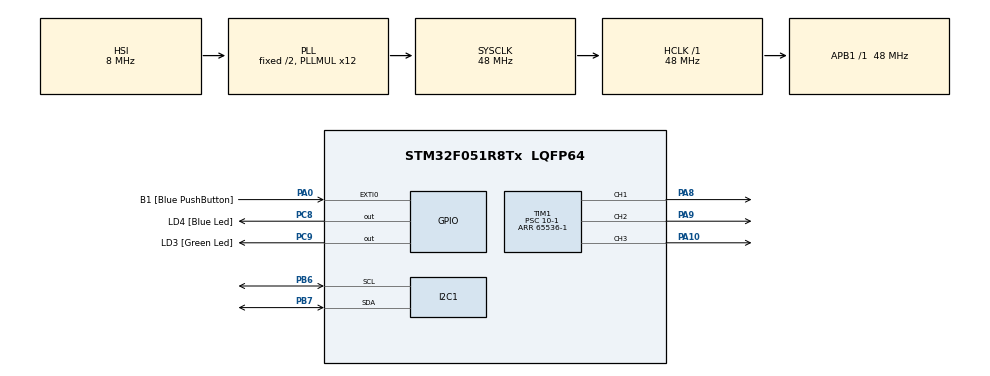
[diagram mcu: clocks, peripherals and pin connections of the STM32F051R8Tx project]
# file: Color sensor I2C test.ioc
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I2C1.AddressingMode=I2C_ADDRESSINGMODE_7BIT
Mcu.Family=STM32F0
Mcu.Name=STM32F051R8Tx
Mcu.Package=LQFP64
PA0.GPIO_Label=B1 [Blue PushButton]
PA0.GPIO_ModeDefaultEXTI=GPIO_MODE_EVT_RISING
PA0.Signal=GPXTI0
PA10.Signal=S_TIM1_CH3
PA13.GPIO_Label=SWDIO
PA13.Mode=Serial_Wire
PA13.Signal=SYS_SWDIO
PA14.GPIO_Label=SWCLK
PA14.Mode=Serial_Wire
PA14.Signal=SYS_SWCLK
PA8.Signal=S_TIM1_CH1
PA9.Signal=S_TIM1_CH2
PB6.Mode=I2C
PB6.Signal=I2C1_SCL
PB7.Mode=I2C
PB7.Signal=I2C1_SDA
PC8.GPIO_Label=LD4 [Blue Led]
PC8.Signal=GPIO_Output
PC9.GPIO_Label=LD3 [Green Led]
PC9.Signal=GPIO_Output
ProjectManager.HeapSize=0x200
ProjectManager.StackSize=0x400
ProjectManager.TargetToolchain=TrueSTUDIO
RCC.AHBFreq_Value=48000000
RCC.APB1Freq_Value=48000000
RCC.APB1TimFreq_Value=48000000
RCC.HCLKFreq_Value=48000000
RCC.PLLMUL=RCC_PLL_MUL12
RCC.SYSCLKFreq_VALUE=48000000
RCC.SYSCLKSource=RCC_SYSCLKSOURCE_PLLCLK
SH.S_TIM1_CH1.0=TIM1_CH1,PWM Generation1 CH1
SH.S_TIM1_CH2.0=TIM1_CH2,PWM Generation2 CH2
SH.S_TIM1_CH3.0=TIM1_CH3,PWM Generation3 CH3
TIM1.Channel-PWM\ Generation1\ CH1=TIM_CHANNEL_1
TIM1.Channel-PWM\ Generation2\ CH2=TIM_CHANNEL_2
TIM1.Channel-PWM\ Generation3\ CH3=TIM_CHANNEL_3
TIM1.Period=65536-1
TIM1.Prescaler=10-1
VP_TIM1_VS_ClockSourceINT.Mode=Internal
board=STM32F0DISCOVERY

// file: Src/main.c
/* USER CODE BEGIN Header */
/**
  ******************************************************************************
  * @file           : main.c
  * @brief          : Main program body
  ******************************************************************************
  ** This notice applies to any and all portions of this file
  * that are not between comment pairs USER CODE BEGIN and
  * USER CODE END. Other portions of this file, whether
  * inserted by the user or by software development tools
  * are owned by their respective copyright owners.
  *
  * COPYRIGHT(c) 2020 STMicroelectronics
  *
  * Redistribution and use in source and binary forms, with or without modification,
  * are permitted provided that the following conditions are met:
  *   1. Redistributions of source code must retain the above copyright notice,
  *      this list of conditions and the following disclaimer.
  *   2. Redistributions in binary form must reproduce the above copyright notice,
  *      this list of conditions and the following disclaimer in the documentation
  *      and/or other materials provided with the distribution.
  *   3. Neither the name of STMicroelectronics nor the names of its contributors
  *      may be used to endorse or promote products derived from this software
  *      without specific prior written permission.
  *
  * THIS SOFTWARE IS PROVIDED BY THE COPYRIGHT HOLDERS AND CONTRIBUTORS "AS IS"
  * AND ANY EXPRESS OR IMPLIED WARRANTIES, INCLUDING, BUT NOT LIMITED TO, THE
  * IMPLIED WARRANTIES OF MERCHANTABILITY AND FITNESS FOR A PARTICULAR PURPOSE ARE
  * DISCLAIMED. IN NO EVENT SHALL THE COPYRIGHT HOLDER OR CONTRIBUTORS BE LIABLE
  * FOR ANY DIRECT, INDIRECT, INCIDENTAL, SPECIAL, EXEMPLARY, OR CONSEQUENTIAL
  * DAMAGES (INCLUDING, BUT NOT LIMITED TO, PROCUREMENT OF SUBSTITUTE GOODS OR
  * SERVICES; LOSS OF USE, DATA, OR PROFITS; OR BUSINESS INTERRUPTION) HOWEVER
  * CAUSED AND ON ANY THEORY OF LIABILITY, WHETHER IN CONTRACT, STRICT LIABILITY,
  * OR TORT (INCLUDING NEGLIGENCE OR OTHERWISE) ARISING IN ANY WAY OUT OF THE USE
  * OF THIS SOFTWARE, EVEN IF ADVISED OF THE POSSIBILITY OF SUCH DAMAGE.
  *
  ******************************************************************************
  */
/* USER CODE END Header */

#include "main.h"

/* USER CODE BEGIN Includes */
#define CONF 0x00
#define R_DATA 0x08
#define G_DATA 0x09
#define B_DATA 0x0A
#define W_DATA 0x0B
static const uint8_t COLOR_ADDR = 0x10 << 1;

uint8_t buffer[8] = {0};
char error_msg[20];
short red_data, grn_data, blu_data;
/* USER CODE END Includes */

I2C_HandleTypeDef hi2c1;

TIM_HandleTypeDef htim1;

void SystemClock_Config(void);
static void MX_GPIO_Init(void);
static void MX_I2C1_Init(void);
static void MX_TIM1_Init(void);

/* USER CODE BEGIN 0 */

short read_sensor_data(uint8_t color_reg){
	uint8_t read_buff[2];
	short ret_data;
	HAL_I2C_Mem_Read(&hi2c1, COLOR_ADDR, (uint16_t)color_reg, I2C_MEMADD_SIZE_8BIT, read_buff, 2, HAL_MAX_DELAY);
	ret_data = read_buff[1] << 8 | read_buff[0];

	return ret_data;
}

void set_rgb (short red, short green, short blue)
{
	htim1.Instance->CCR1 = red;
	htim1.Instance->CCR2 = green;
	htim1.Instance->CCR3 = blue;
}
/* USER CODE END 0 */

int main(void)
{

  /* MCU Configuration--------------------------------------------------------*/

  /* Reset of all peripherals, Initializes the Flash interface and the Systick. */
  HAL_Init();

  /* Configure the system clock */
  SystemClock_Config();

  /* Initialize all configured peripherals */
  MX_GPIO_Init();
  MX_I2C1_Init();
  MX_TIM1_Init();
  /* USER CODE BEGIN 2 */
  //config the color sensors
  buffer[0] = 0x00; //pointer to config reg
  buffer[1] = 0x50; //config settings
  HAL_Delay(200);
  if(HAL_I2C_Master_Transmit(&hi2c1, COLOR_ADDR, buffer, 2, HAL_MAX_DELAY) != HAL_OK){
	  error_msg[0] = 'A';
  }

  HAL_TIM_PWM_Start(&htim1, TIM_CHANNEL_1);
  HAL_TIM_PWM_Start(&htim1, TIM_CHANNEL_2);
  HAL_TIM_PWM_Start(&htim1, TIM_CHANNEL_3);
  /* USER CODE END 2 */

  /* Infinite loop */
  while (1)
  {

    /* USER CODE BEGIN 3 */
	  HAL_Delay(1500);

	  red_data = read_sensor_data(R_DATA);
	  grn_data = read_sensor_data(G_DATA);
	  blu_data = read_sensor_data(B_DATA);
	  set_rgb(red_data, grn_data, blu_data);

  }
  /* USER CODE END 3 */
}

void SystemClock_Config(void)
{
  RCC_OscInitTypeDef RCC_OscInitStruct = {0};
  RCC_ClkInitTypeDef RCC_ClkInitStruct = {0};
  RCC_PeriphCLKInitTypeDef PeriphClkInit = {0};

  /**Initializes the CPU, AHB and APB busses clocks
  */
  RCC_OscInitStruct.OscillatorType = RCC_OSCILLATORTYPE_HSI;
  RCC_OscInitStruct.HSIState = RCC_HSI_ON;
  RCC_OscInitStruct.HSICalibrationValue = RCC_HSICALIBRATION_DEFAULT;
  RCC_OscInitStruct.PLL.PLLState = RCC_PLL_ON;
  RCC_OscInitStruct.PLL.PLLSource = RCC_PLLSOURCE_HSI;
  RCC_OscInitStruct.PLL.PLLMUL = RCC_PLL_MUL12;
  RCC_OscInitStruct.PLL.PREDIV = RCC_PREDIV_DIV1;
  if (HAL_RCC_OscConfig(&RCC_OscInitStruct) != HAL_OK)
  {
    Error_Handler();
  }
  /**Initializes the CPU, AHB and APB busses clocks
  */
  RCC_ClkInitStruct.ClockType = RCC_CLOCKTYPE_HCLK|RCC_CLOCKTYPE_SYSCLK
                              |RCC_CLOCKTYPE_PCLK1;
  RCC_ClkInitStruct.SYSCLKSource = RCC_SYSCLKSOURCE_PLLCLK;
  RCC_ClkInitStruct.AHBCLKDivider = RCC_SYSCLK_DIV1;
  RCC_ClkInitStruct.APB1CLKDivider = RCC_HCLK_DIV1;

  if (HAL_RCC_ClockConfig(&RCC_ClkInitStruct, FLASH_LATENCY_1) != HAL_OK)
  {
    Error_Handler();
  }
  PeriphClkInit.PeriphClockSelection = RCC_PERIPHCLK_I2C1;
  PeriphClkInit.I2c1ClockSelection = RCC_I2C1CLKSOURCE_HSI;
  if (HAL_RCCEx_PeriphCLKConfig(&PeriphClkInit) != HAL_OK)
  {
    Error_Handler();
  }
}

static void MX_I2C1_Init(void)
{

  hi2c1.Instance = I2C1;
  hi2c1.Init.Timing = 0x2000090E;
  hi2c1.Init.OwnAddress1 = 0;
  hi2c1.Init.AddressingMode = I2C_ADDRESSINGMODE_7BIT;
  hi2c1.Init.DualAddressMode = I2C_DUALADDRESS_DISABLE;
  hi2c1.Init.OwnAddress2 = 0;
  hi2c1.Init.OwnAddress2Masks = I2C_OA2_NOMASK;
  hi2c1.Init.GeneralCallMode = I2C_GENERALCALL_DISABLE;
  hi2c1.Init.NoStretchMode = I2C_NOSTRETCH_DISABLE;
  if (HAL_I2C_Init(&hi2c1) != HAL_OK)
  {
    Error_Handler();
  }
  /**Configure Analogue filter
  */
  if (HAL_I2CEx_ConfigAnalogFilter(&hi2c1, I2C_ANALOGFILTER_ENABLE) != HAL_OK)
  {
    Error_Handler();
  }
  /**Configure Digital filter
  */
  if (HAL_I2CEx_ConfigDigitalFilter(&hi2c1, 0) != HAL_OK)
  {
    Error_Handler();
  }

}

static void MX_TIM1_Init(void)
{

  TIM_ClockConfigTypeDef sClockSourceConfig = {0};
  TIM_MasterConfigTypeDef sMasterConfig = {0};
  TIM_OC_InitTypeDef sConfigOC = {0};
  TIM_BreakDeadTimeConfigTypeDef sBreakDeadTimeConfig = {0};

  htim1.Instance = TIM1;
  htim1.Init.Prescaler = 10-1;
  htim1.Init.CounterMode = TIM_COUNTERMODE_UP;
  htim1.Init.Period = 65536-1;
  htim1.Init.ClockDivision = TIM_CLOCKDIVISION_DIV1;
  htim1.Init.RepetitionCounter = 0;
  htim1.Init.AutoReloadPreload = TIM_AUTORELOAD_PRELOAD_DISABLE;
  if (HAL_TIM_Base_Init(&htim1) != HAL_OK)
  {
    Error_Handler();
  }
  sClockSourceConfig.ClockSource = TIM_CLOCKSOURCE_INTERNAL;
  if (HAL_TIM_ConfigClockSource(&htim1, &sClockSourceConfig) != HAL_OK)
  {
    Error_Handler();
  }
  if (HAL_TIM_PWM_Init(&htim1) != HAL_OK)
  {
    Error_Handler();
  }
  sMasterConfig.MasterOutputTrigger = TIM_TRGO_RESET;
  sMasterConfig.MasterSlaveMode = TIM_MASTERSLAVEMODE_DISABLE;
  if (HAL_TIMEx_MasterConfigSynchronization(&htim1, &sMasterConfig) != HAL_OK)
  {
    Error_Handler();
  }
  sConfigOC.OCMode = TIM_OCMODE_PWM1;
  sConfigOC.Pulse = 0;
  sConfigOC.OCPolarity = TIM_OCPOLARITY_HIGH;
  sConfigOC.OCNPolarity = TIM_OCNPOLARITY_HIGH;
  sConfigOC.OCFastMode = TIM_OCFAST_DISABLE;
  sConfigOC.OCIdleState = TIM_OCIDLESTATE_RESET;
  sConfigOC.OCNIdleState = TIM_OCNIDLESTATE_RESET;
  if (HAL_TIM_PWM_ConfigChannel(&htim1, &sConfigOC, TIM_CHANNEL_1) != HAL_OK)
  {
    Error_Handler();
  }
  if (HAL_TIM_PWM_ConfigChannel(&htim1, &sConfigOC, TIM_CHANNEL_2) != HAL_OK)
  {
    Error_Handler();
  }
  if (HAL_TIM_PWM_ConfigChannel(&htim1, &sConfigOC, TIM_CHANNEL_3) != HAL_OK)
  {
    Error_Handler();
  }
  sBreakDeadTimeConfig.OffStateRunMode = TIM_OSSR_DISABLE;
  sBreakDeadTimeConfig.OffStateIDLEMode = TIM_OSSI_DISABLE;
  sBreakDeadTimeConfig.LockLevel = TIM_LOCKLEVEL_OFF;
  sBreakDeadTimeConfig.DeadTime = 0;
  sBreakDeadTimeConfig.BreakState = TIM_BREAK_DISABLE;
  sBreakDeadTimeConfig.BreakPolarity = TIM_BREAKPOLARITY_HIGH;
  sBreakDeadTimeConfig.AutomaticOutput = TIM_AUTOMATICOUTPUT_DISABLE;
  if (HAL_TIMEx_ConfigBreakDeadTime(&htim1, &sBreakDeadTimeConfig) != HAL_OK)
  {
    Error_Handler();
  }
  HAL_TIM_MspPostInit(&htim1);

}

static void MX_GPIO_Init(void)
{
  GPIO_InitTypeDef GPIO_InitStruct = {0};

  /* GPIO Ports Clock Enable */
  __HAL_RCC_GPIOA_CLK_ENABLE();
  __HAL_RCC_GPIOC_CLK_ENABLE();
  __HAL_RCC_GPIOB_CLK_ENABLE();

  /*Configure GPIO pin Output Level */
  HAL_GPIO_WritePin(GPIOC, LD4_Pin|LD3_Pin, GPIO_PIN_RESET);

  /*Configure GPIO pin : B1_Pin */
  GPIO_InitStruct.Pin = B1_Pin;
  GPIO_InitStruct.Mode = GPIO_MODE_EVT_RISING;
  GPIO_InitStruct.Pull = GPIO_NOPULL;
  HAL_GPIO_Init(B1_GPIO_Port, &GPIO_InitStruct);

  /*Configure GPIO pins : LD4_Pin LD3_Pin */
  GPIO_InitStruct.Pin = LD4_Pin|LD3_Pin;
  GPIO_InitStruct.Mode = GPIO_MODE_OUTPUT_PP;
  GPIO_InitStruct.Pull = GPIO_NOPULL;
  GPIO_InitStruct.Speed = GPIO_SPEED_FREQ_LOW;
  HAL_GPIO_Init(GPIOC, &GPIO_InitStruct);

}

void Error_Handler(void)
{
}

/************************ (C) COPYRIGHT STMicroelectronics *****END OF FILE****/
